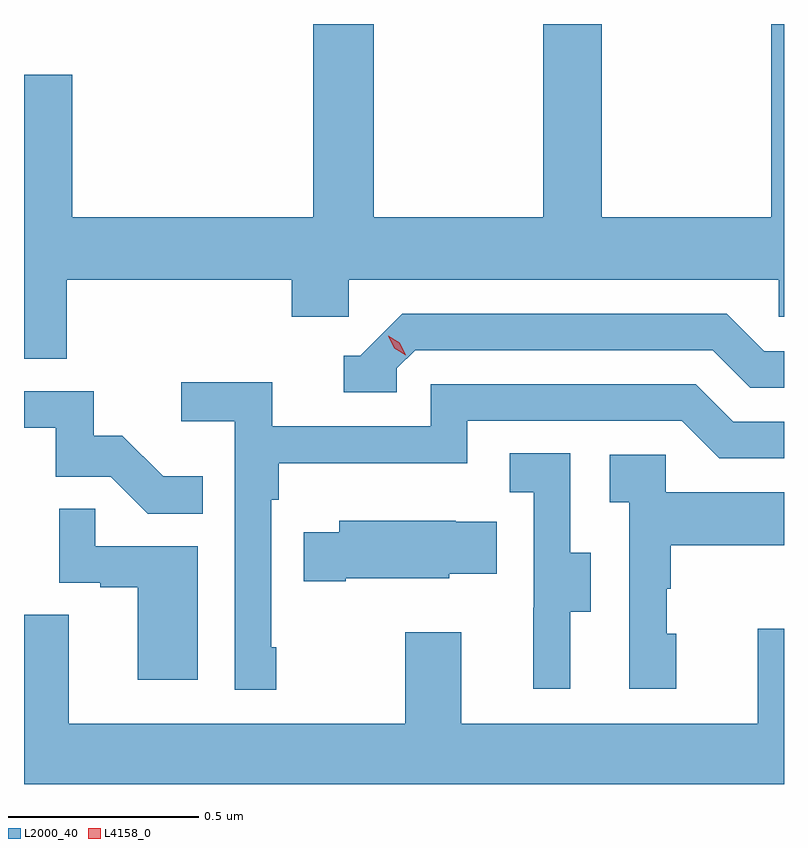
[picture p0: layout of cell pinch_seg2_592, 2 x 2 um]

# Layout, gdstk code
import gdstk
lib = gdstk.Library(unit=1e-6, precision=1e-09)
def P(c, l, *ps):  # polygons
    for p in ps: c.add(gdstk.Polygon(p, *l))
L2000_40 = (2000, 40)
L4158_0 = (4158, 0)

pinch_seg2_592 = lib.new_cell('pinch_seg2_592')
P(pinch_seg2_592, L2000_40, [(1142.18,605.012),(1142.771,605.012),(1142.771,604.914),(1142.922,604.914),(1142.922,605.012),(1144.053,605.012),(1144.053,604.914),(1144.067,604.914),(1144.067,605.685),(1144.033,605.685),(1144.033,605.176),(1143.588,605.176),(1143.588,605.685),(1143.433,605.685),(1143.433,605.176),(1142.988,605.176),(1142.988,605.685),(1142.828,605.685),(1142.828,605.176),(1142.194,605.176),(1142.194,605.551),(1142.067,605.551),(1142.067,604.804),(1142.18,604.804)],
  [(1143.048,604.779),(1143.096,604.827),(1143.879,604.827),(1143.978,604.728),(1144.067,604.728),(1144.067,604.824),(1144.015,604.824),(1143.916,604.923),(1143.063,604.923),(1142.952,604.812),(1142.909,604.812),(1142.909,604.716),(1143.048,604.716)],
  [(1142.731,604.045),(1142.718,604.045),(1142.718,604.433),(1142.738,604.433),(1142.738,604.529),(1143.234,604.529),(1143.234,604.641),(1143.798,604.641),(1143.897,604.542),(1144.067,604.542),(1144.067,604.638),(1143.934,604.638),(1143.835,604.737),(1143.138,604.737),(1143.138,604.626),(1142.72,604.626),(1142.72,604.742),(1142.481,604.742),(1142.481,604.64),(1142.622,604.64),(1142.622,603.933),(1142.731,603.933)],
  [(1142.537,604.495),(1142.433,604.495),(1142.326,604.602),(1142.25,604.602),(1142.25,604.719),(1142.067,604.719),(1142.067,604.623),(1142.151,604.623),(1142.151,604.494),(1142.295,604.494),(1142.393,604.396),(1142.537,604.396)],
  [(1143.505,604.138),(1143.559,604.138),(1143.559,604.293),(1143.504,604.293),(1143.504,604.556),(1143.345,604.556),(1143.345,604.453),(1143.408,604.453),(1143.408,604.149),(1143.407,604.149),(1143.407,603.936),(1143.505,603.936)],
  [(1143.784,604.08),(1143.759,604.08),(1143.759,604.199),(1143.769,604.199),(1143.769,604.313),(1144.067,604.313),(1144.067,604.453),(1143.756,604.453),(1143.756,604.551),(1143.609,604.551),(1143.609,604.427),(1143.66,604.427),(1143.66,603.936),(1143.784,603.936)],
  [(1142.524,604.311),(1142.255,604.311),(1142.255,604.409),(1142.16,604.409),(1142.16,604.215),(1142.267,604.215),(1142.267,604.203),(1142.366,604.203),(1142.366,603.96),(1142.524,603.96)],
  [(1142.914,604.226),(1143.186,604.226),(1143.186,604.238),(1143.311,604.238),(1143.311,604.375),(1143.203,604.375),(1143.203,604.378),(1142.897,604.378),(1142.897,604.348),(1142.803,604.348),(1142.803,604.219),(1142.914,604.219)],
  [(1144.067,604.093),(1143.998,604.093),(1143.998,603.844),(1143.217,603.844),(1143.217,604.084),(1143.07,604.084),(1143.07,603.844),(1142.185,603.844),(1142.185,604.13),(1142.067,604.13),(1142.067,603.685),(1144.067,603.685)])
P(pinch_seg2_592, L4158_0, [(1143.072,604.813),(1143.041,604.832),(1143.025,604.864),(1143.025,604.865),(1143.025,604.865),(1143.056,604.846),(1143.072,604.814),(1143.072,604.813)])

lib.write_gds('pinch_seg2_592.gds')
